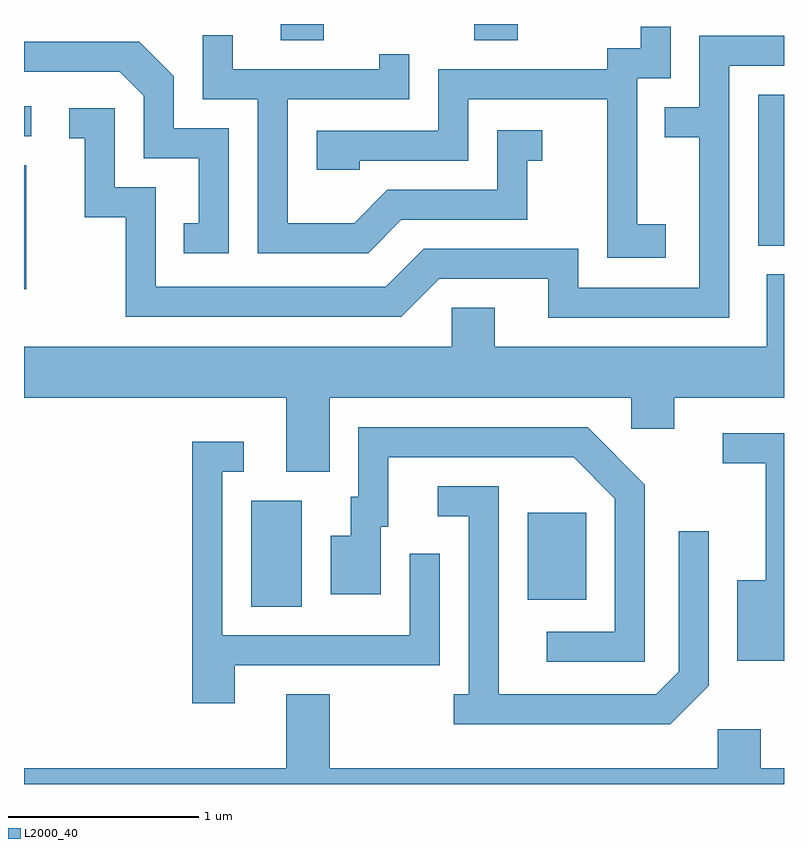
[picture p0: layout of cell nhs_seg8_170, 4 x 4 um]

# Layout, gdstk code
import gdstk
lib = gdstk.Library(unit=1e-6, precision=1e-09)
def R(c, l, rs):  # rectangles x0, y0, x1, y1
    for r in rs: c.add(gdstk.rectangle(r[:2], r[2:], *l))
def P(c, l, *ps):  # polygons
    for p in ps: c.add(gdstk.Polygon(p, *l))
L2000_40 = (2000, 40)

nhs_seg8_170 = lib.new_cell('nhs_seg8_170')
R(nhs_seg8_170, L2000_40, [(190.806,1875.276,191.074,1875.834), (192.261,1875.311,192.569,1875.769), (189.611,1876.946,189.624,1877.599), (193.476,1877.176,193.611,1877.969), (189.611,1877.751,189.648,1877.909), (190.961,1878.256,191.189,1878.342), (191.981,1878.256,192.209,1878.342)])
P(nhs_seg8_170, L2000_40, [(192.989,1877.289),(192.839,1877.289),(192.839,1878.056),(193.014,1878.056),(193.014,1878.328),(192.856,1878.328),(192.856,1878.214),(192.681,1878.214),(192.681,1878.104),(191.791,1878.104),(191.791,1877.779),(191.151,1877.779),(191.151,1877.576),(191.379,1877.576),(191.379,1877.621),(191.949,1877.621),(191.949,1877.946),(192.681,1877.946),(192.681,1877.111),(192.989,1877.111)],
  [(191.597,1877.311),(192.259,1877.311),(192.259,1877.621),(192.338,1877.621),(192.338,1877.784),(192.101,1877.784),(192.101,1877.469),(191.524,1877.469),(191.349,1877.294),(190.999,1877.294),(190.999,1877.946),(191.639,1877.946),(191.639,1878.183),(191.481,1878.183),(191.481,1878.104),(190.709,1878.104),(190.709,1878.283),(190.551,1878.283),(190.551,1877.946),(190.841,1877.946),(190.841,1877.136),(191.422,1877.136)],
  [(193.324,1878.121),(193.611,1878.121),(193.611,1878.279),(193.166,1878.279),(193.166,1877.904),(192.983,1877.904),(192.983,1877.746),(193.166,1877.746),(193.166,1876.954),(192.529,1876.954),(192.529,1877.159),(191.714,1877.159),(191.514,1876.959),(190.304,1876.959),(190.304,1877.484),(190.089,1877.484),(190.089,1877.899),(189.848,1877.899),(189.848,1877.741),(189.931,1877.741),(189.931,1877.326),(190.146,1877.326),(190.146,1876.801),(191.597,1876.801),(191.797,1877.001),(192.371,1877.001),(192.371,1876.796),(193.324,1876.796)],
  [(190.689,1877.794),(190.399,1877.794),(190.399,1878.067),(190.217,1878.249),(189.611,1878.249),(189.611,1878.091),(190.114,1878.091),(190.241,1877.964),(190.241,1877.636),(190.531,1877.636),(190.531,1877.294),(190.453,1877.294),(190.453,1877.136),(190.689,1877.136)],
  [(191.219,1876.376),(192.806,1876.376),(192.806,1876.211),(193.034,1876.211),(193.034,1876.376),(193.611,1876.376),(193.611,1877.024),(193.521,1877.024),(193.521,1876.644),(192.089,1876.644),(192.089,1876.849),(191.861,1876.849),(191.861,1876.644),(189.611,1876.644),(189.611,1876.376),(190.991,1876.376),(190.991,1875.986),(191.219,1875.986)],
  [(192.879,1875.917),(192.577,1876.219),(191.371,1876.219),(191.371,1875.854),(191.331,1875.854),(191.331,1875.649),(191.226,1875.649),(191.226,1875.341),(191.489,1875.341),(191.489,1875.696),(191.529,1875.696),(191.529,1876.061),(192.504,1876.061),(192.721,1875.844),(192.721,1875.144),(192.363,1875.144),(192.363,1874.986),(192.879,1874.986)],
  [(193.611,1876.189),(193.288,1876.189),(193.288,1876.031),(193.516,1876.031),(193.516,1875.414),(193.366,1875.414),(193.366,1874.991),(193.611,1874.991)],
  [(190.719,1874.966),(191.799,1874.966),(191.799,1875.553),(191.641,1875.553),(191.641,1875.124),(190.654,1875.124),(190.654,1875.986),(190.768,1875.986),(190.768,1876.144),(190.496,1876.144),(190.496,1874.766),(190.719,1874.766)],
  [(193.214,1874.859),(193.214,1875.673),(193.056,1875.673),(193.056,1874.932),(192.939,1874.814),(192.109,1874.814),(192.109,1875.909),(191.788,1875.909),(191.788,1875.751),(191.951,1875.751),(191.951,1874.814),(191.873,1874.814),(191.873,1874.656),(193.012,1874.656)],
  [(193.611,1874.424),(193.489,1874.424),(193.489,1874.629),(193.261,1874.629),(193.261,1874.424),(191.219,1874.424),(191.219,1874.814),(190.991,1874.814),(190.991,1874.424),(189.611,1874.424),(189.611,1874.342),(193.611,1874.342)])

lib.write_gds('nhs_seg8_170.gds')
